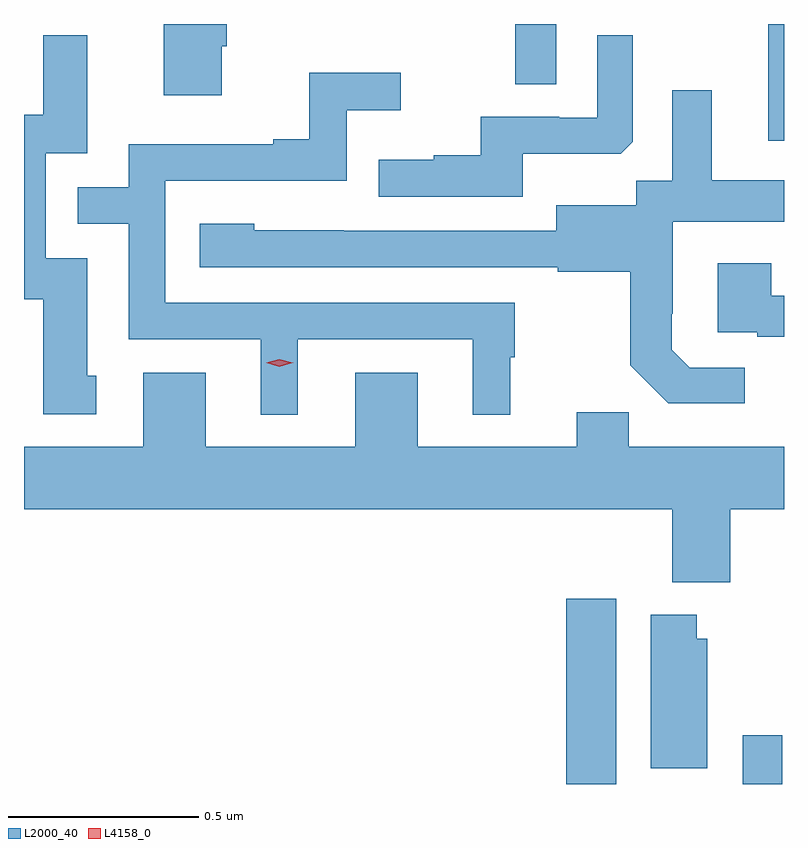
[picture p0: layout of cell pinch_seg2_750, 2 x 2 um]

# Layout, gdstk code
import gdstk
lib = gdstk.Library(unit=1e-6, precision=1e-09)
def R(c, l, rs):  # rectangles x0, y0, x1, y1
    for r in rs: c.add(gdstk.rectangle(r[:2], r[2:], *l))
def P(c, l, *ps):  # polygons
    for p in ps: c.add(gdstk.Polygon(p, *l))
L2000_40 = (2000, 40)
L4158_0 = (4158, 0)

pinch_seg2_750 = lib.new_cell('pinch_seg2_750')
R(pinch_seg2_750, L2000_40, [(779.192,644.249,779.323,644.737), (779.657,644.249,779.761,644.377), (779.723,645.942,779.765,646.249), (779.058,646.09,779.166,646.249)])
P(pinch_seg2_750, L2000_40, [(778.285,646.191),(778.298,646.191),(778.298,646.249),(778.133,646.249),(778.133,646.062),(778.285,646.062)],
  [(777.955,645.324),(777.931,645.324),(777.931,645.633),(777.822,645.633),(777.822,645.909),(777.931,645.909),(777.931,646.219),(777.815,646.219),(777.815,646.01),(777.765,646.01),(777.765,645.525),(777.815,645.525),(777.815,645.222),(777.955,645.222)],
  [(779.077,645.908),(779.335,645.908),(779.367,645.939),(779.367,646.219),(779.274,646.219),(779.274,646.002),(779.174,646.002),(779.174,646.005),(778.967,646.005),(778.967,645.904),(778.843,645.904),(778.843,645.892),(778.699,645.892),(778.699,645.795),(779.077,645.795)],
  [(778.486,645.42),(778.946,645.42),(778.946,645.221),(779.044,645.221),(779.044,645.372),(779.056,645.372),(779.056,645.516),(778.137,645.516),(778.137,645.837),(778.614,645.837),(778.614,646.022),(778.756,646.022),(778.756,646.121),(778.516,646.121),(778.516,645.946),(778.421,645.946),(778.421,645.933),(778.041,645.933),(778.041,645.819),(777.907,645.819),(777.907,645.723),(778.041,645.723),(778.041,645.42),(778.388,645.42),(778.388,645.221),(778.486,645.221)],
  [(779.662,645.345),(779.517,645.345),(779.47,645.392),(779.47,645.487),(779.472,645.487),(779.472,645.728),(779.765,645.728),(779.765,645.838),(779.575,645.838),(779.575,646.075),(779.471,646.075),(779.471,645.836),(779.376,645.836),(779.376,645.772),(779.165,645.772),(779.165,645.705),(778.607,645.705),(778.607,645.706),(778.371,645.706),(778.371,645.724),(778.227,645.724),(778.227,645.609),(779.169,645.609),(779.169,645.597),(779.361,645.597),(779.361,645.351),(779.461,645.251),(779.662,645.251)],
  [(779.765,645.534),(779.731,645.534),(779.731,645.619),(779.591,645.619),(779.591,645.438),(779.695,645.438),(779.695,645.426),(779.765,645.426)],
  [(779.471,644.78),(779.623,644.78),(779.623,644.972),(779.765,644.972),(779.765,645.136),(779.357,645.136),(779.357,645.227),(779.219,645.227),(779.219,645.136),(778.801,645.136),(778.801,645.331),(778.637,645.331),(778.637,645.136),(778.243,645.136),(778.243,645.331),(778.079,645.331),(778.079,645.136),(777.765,645.136),(777.765,644.972),(779.471,644.972)],
  [(779.563,644.631),(779.536,644.631),(779.536,644.695),(779.414,644.695),(779.414,644.29),(779.563,644.29)])
P(pinch_seg2_750, L4158_0, [(778.437,645.347),(778.402,645.357),(778.401,645.357),(778.402,645.357),(778.437,645.367),(778.472,645.357),(778.473,645.357),(778.472,645.357)])

lib.write_gds('pinch_seg2_750.gds')
